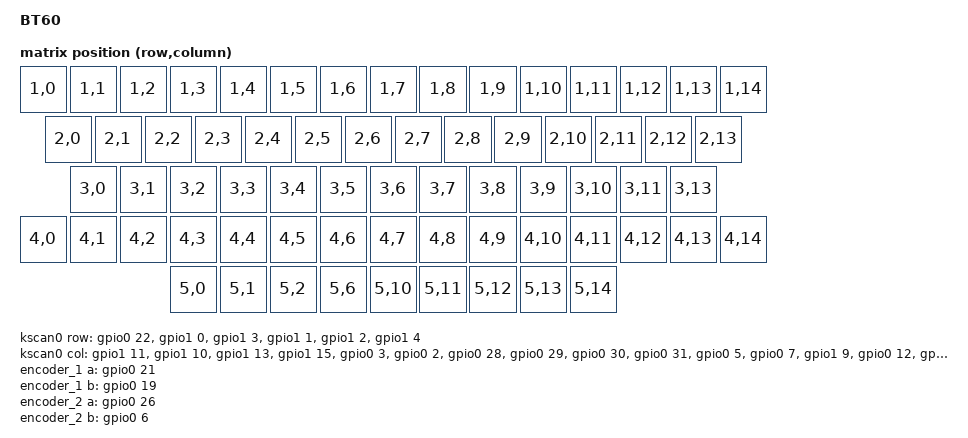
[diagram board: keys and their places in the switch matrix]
/*
* Copyright (c) 2021 Polarity Works
*
* SPDX-License-Identifier: MIT
*/

/dts-v1/;
#include <nordic/nrf52840_qiaa.dtsi>

#include <dt-bindings/led/led.h>
#include <dt-bindings/zmk/matrix_transform.h>

#include "pinctrl.dtsi"

/ {
	model = "BT60";
	compatible = "polarityworks,bt60v2";

	chosen {
		zephyr,code-partition = &code_partition;
		zephyr,sram = &sram0;
		zephyr,flash = &flash0;
		zmk,kscan = &kscan0;
		zmk,underglow = &led_strip;
		zmk,backlight = &backlight;
		zmk,matrix_transform = &default_transform;
		zmk,battery = &vbatt;
	};

	sensors {
		compatible = "zmk,keymap-sensors";
		sensors = <&encoder_1>;
	};

	default_transform: keymap_transform_0 {
		compatible = "zmk,matrix-transform";
		columns = <15>;
		rows = <5>;
		map = <
			RC(1,0) RC(1,1) RC(1,2) RC(1,3) RC(1,4) RC(1,5) RC(1,6) RC(1,7) RC(1,8) RC(1,9) RC(1,10) RC(1,11) RC(1,12) 	 	RC(1,13) RC(1,14)
			RC(2,0)   RC(2,1) RC(2,2) RC(2,3) RC(2,4) RC(2,5) RC(2,6) RC(2,7) RC(2,8) RC(2,9) RC(2,10) RC(2,11) RC(2,12)   RC(2,13)
			RC(3,0)     RC(3,1) RC(3,2) RC(3,3) RC(3,4) RC(3,5) RC(3,6) RC(3,7) RC(3,8) RC(3,9) RC(3,10) RC(3,11)          RC(3,13)
			RC(4,0) RC(4,1)  RC(4,2) RC(4,3) RC(4,4) RC(4,5) RC(4,6) RC(4,7) RC(4,8) RC(4,9) RC(4,10)  RC(4,11) RC(4,12) RC(4,13) RC(4,14)
			RC(5,0)   RC(5,1)   RC(5,2)                      RC(5,6)                     RC(5,10)   RC(5,11)    RC(5,12)     RC(5,13) RC(5,14)
		>;
	};


	kscan0: kscan_0 {
		compatible = "zmk,kscan-gpio-matrix";
		diode-direction = "col2row";

		col-gpios
			= <&gpio1 11 GPIO_ACTIVE_HIGH>
			, <&gpio1 10 GPIO_ACTIVE_HIGH>
			, <&gpio1 13 GPIO_ACTIVE_HIGH>
			, <&gpio1 15 GPIO_ACTIVE_HIGH>
			, <&gpio0 3 GPIO_ACTIVE_HIGH>
			, <&gpio0 2 GPIO_ACTIVE_HIGH>
			, <&gpio0 28 GPIO_ACTIVE_HIGH>
			, <&gpio0 29 GPIO_ACTIVE_HIGH>
			, <&gpio0 30 GPIO_ACTIVE_HIGH>
			, <&gpio0 31 GPIO_ACTIVE_HIGH>
			, <&gpio0 5 GPIO_ACTIVE_HIGH>
			, <&gpio0 7 GPIO_ACTIVE_HIGH>
			, <&gpio1 9 GPIO_ACTIVE_HIGH>
			, <&gpio0 12 GPIO_ACTIVE_HIGH>
			, <&gpio0 23 GPIO_ACTIVE_HIGH>
			;

		row-gpios
			= <&gpio0 22 (GPIO_ACTIVE_HIGH | GPIO_PULL_DOWN)>
			, <&gpio1 0 (GPIO_ACTIVE_HIGH | GPIO_PULL_DOWN)>
			, <&gpio1 3 (GPIO_ACTIVE_HIGH | GPIO_PULL_DOWN)>
			, <&gpio1 1 (GPIO_ACTIVE_HIGH | GPIO_PULL_DOWN)>
			, <&gpio1 2 (GPIO_ACTIVE_HIGH | GPIO_PULL_DOWN)>
			, <&gpio1 4 (GPIO_ACTIVE_HIGH | GPIO_PULL_DOWN)>
			;
	};
	ext-power {
		compatible = "zmk,ext-power-generic";
		label = "EXT_POWER";
		control-gpios = <&gpio0 13 GPIO_ACTIVE_HIGH>;
	};
	encoder_1: encoder_1 {
		compatible = "alps,ec11";
		label = "ENCODER_ONE";
		a-gpios = <&gpio0 21 (GPIO_ACTIVE_HIGH | GPIO_PULL_UP)>;
		b-gpios = <&gpio0 19 (GPIO_ACTIVE_HIGH | GPIO_PULL_UP)>;
		resolution = <4>;
		status = "okay";
	};
	encoder_2: encoder_2 {
		compatible = "alps,ec11";
		label = "ENCODER_TWO";
		a-gpios = <&gpio0 26 (GPIO_ACTIVE_HIGH | GPIO_PULL_UP)>;
		b-gpios = <&gpio0 6 (GPIO_ACTIVE_HIGH | GPIO_PULL_UP)>;
		resolution = <4>;
		status = "okay";
	};
	encoder_3: encoder_3 {
		compatible = "alps,ec11";
		label = "encoder_3";
		a-gpios = <&gpio0 9 (GPIO_ACTIVE_HIGH | GPIO_PULL_UP)>;
		b-gpios = <&gpio0 10 (GPIO_ACTIVE_HIGH | GPIO_PULL_UP)>;
		resolution = <4>;
		status = "okay";
	};
	backlight: pwmleds {
		compatible = "pwm-leds";
		label = "Backlight LEDs";
		pwm_led_0 {
			pwms = <&pwm0 0 10000 PWM_POLARITY_NORMAL>;
		};
	};

	leds {
		compatible = "gpio-leds";
		blue_led: led_0 {
			gpios = <&gpio0 15 GPIO_ACTIVE_HIGH>;
			label = "Blue LED";
		};
	};

	vbatt: vbatt {
		compatible = "zmk,battery-voltage-divider";
		label = "VBATT";
		io-channels = <&adc 2>;
		output-ohms = <100000>;
		full-ohms = <(100000 + 100000)>;
	};
};

&adc {
	status = "okay";
};

&pwm0 {
	status = "okay";
	pinctrl-0 = <&pwm0_default>;
	pinctrl-1 = <&pwm0_sleep>;
	pinctrl-names = "default", "sleep";
};

&gpiote {
	status = "okay";
};

&gpio0 {
	status = "okay";
};

&gpio1 {
	status = "okay";
};

&usbd {
	status = "okay";
};


&flash0 {
	/*
	 * For more information, see:
	 * http://docs.zephyrproject.org/latest/devices/dts/flash_partitions.html
	 */
	partitions {
		compatible = "fixed-partitions";
		#address-cells = <1>;
		#size-cells = <1>;

		sd_partition: partition@0 {
			label = "softdevice";
			reg = <0x00000000 0x00026000>;
		};
		code_partition: partition@26000 {
			label = "code_partition";
			reg = <0x00026000 0x000c6000>;
		};

		/*
		 * The flash starting at 0x000ec000 and ending at
		 * 0x000f3fff is reserved for use by the application.
		 */

		/*
		 * Storage partition will be used by FCB/LittleFS/NVS
		 * if enabled.
		 */
		storage_partition: partition@ec000 {
			label = "storage";
			reg = <0x000ec000 0x00008000>;
		};

		boot_partition: partition@f4000 {
			label = "adafruit_boot";
			reg = <0x000f4000 0x0000c000>;
		};
	};
};

&spi3 {
	compatible = "nordic,nrf-spim";
	pinctrl-0 = <&spi3_default>;
	pinctrl-1 = <&spi3_sleep>;
	pinctrl-names = "default", "sleep";
	status = "okay";
	rx-delay-supported;
	rx-delay = < 0x2 >;

	led_strip: ws2812@0 {
	  compatible = "worldsemi,ws2812-spi";
	  label = "WS2812";

		/* SPI */
		reg = <0>; /* ignored, but necessary for SPI bindings */
		spi-max-frequency = <4000000>;

		/* WS2812 */
		chain-length = <12>; /* LED strip length */
		spi-one-frame = <0x70>;
		spi-zero-frame = <0x40>;
		color-mapping = <LED_COLOR_ID_GREEN LED_COLOR_ID_RED LED_COLOR_ID_BLUE>;
	};
};
